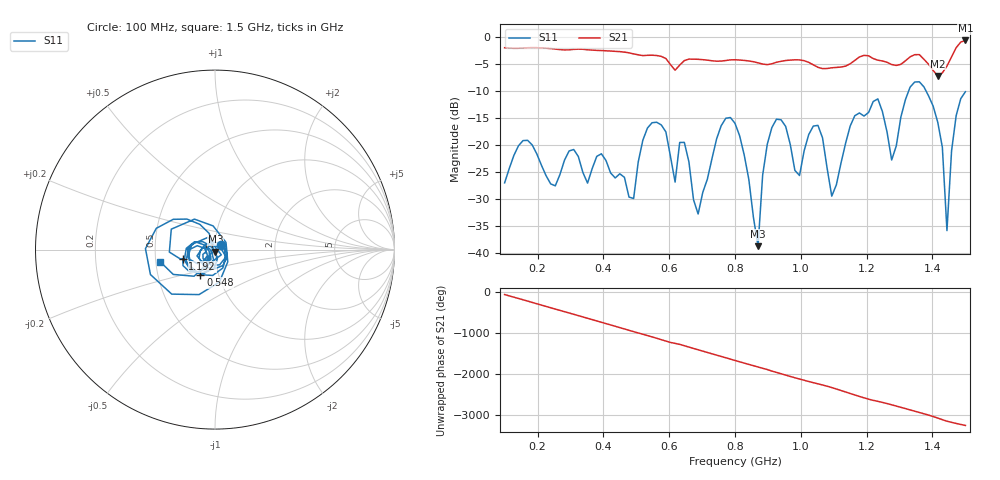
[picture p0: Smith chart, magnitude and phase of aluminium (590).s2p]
! NanoVNA-App
! Date: 2025-09-25 14:59:52
! Start: 100MHz Stop: 1,5GHz Points: 101
! S-Parameter data: F S11 S21 S12 S22
# Hz S RI R 50
!  Frequency  S11_Real  S11_Imag  S21_Real  S21_Imag  S12_Real  S12_Imag  S22_Real  S22_Imag
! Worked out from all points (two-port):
!   101 points, 100 MHz to 1.5 GHz, reference 50 ohm
!   highest |S21| = -0.58 dB at 1.5 GHz (marker M1); lowest = -7.1 dB at 1.416 GHz (marker M2)
!   |S21| within 3 dB of the highest: start of sweep to 577.8 MHz; 1.458 GHz to end of sweep (the widest 2 of 4)
!   lowest |S11| = -38.7 dB at 870 MHz (marker M3), VSWR 1.02, Z = 50.2 - j1.14 ohm
!   |S11| at or under -10 dB: start of sweep to 1.327 GHz; 1.381 GHz to end of sweep
!   S12 and S22 are empty: the file has one direction only
!   S11 on the Smith chart (normalised r, x): 100 MHz: 1.07, +0.06; 548 MHz: 0.82, -0.24; 1.192 GHz: 0.69, -0.07; 1.5 GHz: 0.53, -0.08
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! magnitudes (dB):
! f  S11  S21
! 100 MHz  -27.0  -1.9
! 156 MHz  -19.1  -2.0
! 338 MHz  -25.1  -2.2
! 492 MHz  -29.9  -3.1
! 548 MHz  -15.8  -3.3
! 576 MHz  -16.2  -3.5
! 646 MHz  -19.5  -4.3
! 688 MHz  -32.7  -4.1
! 800 MHz  -15.9  -4.1
! 870 MHz  -38.7  -4.7
! 912 MHz  -16.7  -4.9
! 996 MHz  -25.6  -4.2
! 1.038 GHz  -16.4  -5.1
! 1.094 GHz  -29.4  -5.6
! 1.192 GHz  -14.6  -3.3
! 1.234 GHz  -11.4  -4.2
! 1.276 GHz  -22.7  -5.0
! 1.346 GHz  -8.3  -3.2
! 1.416 GHz  -15.7  -7.1
! 1.444 GHz  -35.8  -5.3
! 1.472 GHz  -14.5  -1.9
! 1.5 GHz  -10.1  -0.6
